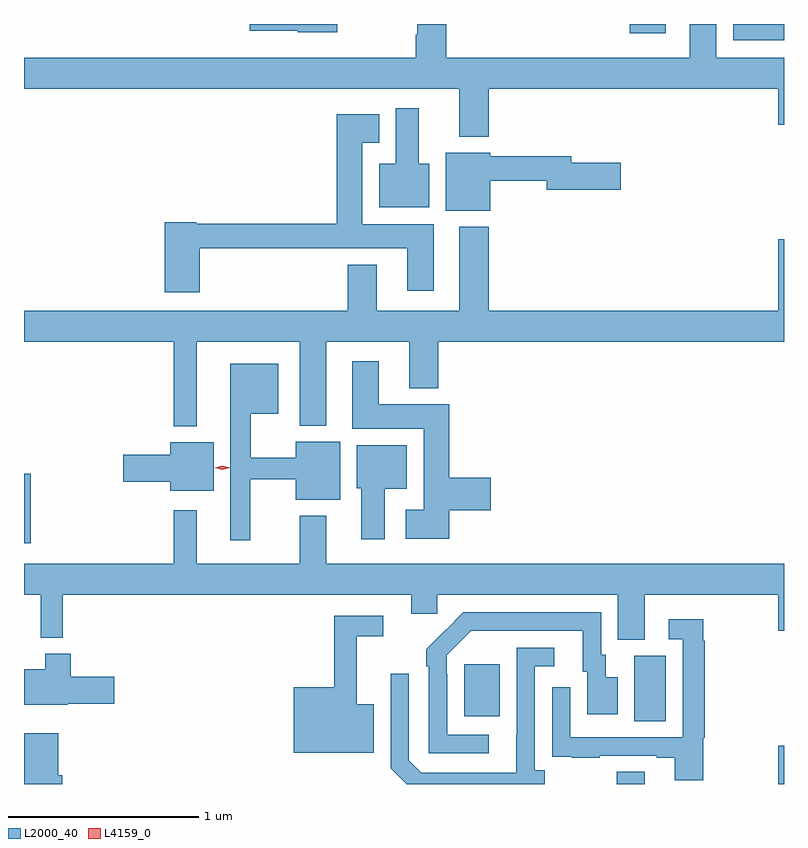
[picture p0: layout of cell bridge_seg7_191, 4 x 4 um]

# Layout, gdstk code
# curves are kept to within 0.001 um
import gdstk
lib = gdstk.Library(unit=1e-6, precision=1e-09)
def R(c, l, rs):  # rectangles x0, y0, x1, y1
    for r in rs: c.add(gdstk.rectangle(r[:2], r[2:], *l))
def P(c, l, *ps):  # polygons
    for p in ps: c.add(gdstk.Polygon(p, *l))
L2000_40 = (2000, 40)
L4159_0 = (4159, 0)

bridge_seg7_191 = lib.new_cell('bridge_seg7_191')
R(bridge_seg7_191, L2000_40, [(499.822,1015.605,499.969,1015.67), (500.672,1015.605,500.703,1015.807), (499.916,1015.936,500.08,1016.28), (499.019,1015.961,499.207,1016.236), (496.703,1016.871,496.739,1017.238), (500.436,1019.52,500.703,1019.605), (499.891,1019.556,500.08,1019.605)])
P(bridge_seg7_191, L2000_40, [(499.148,1019.264),(500.672,1019.264),(500.672,1019.076),(500.703,1019.076),(500.703,1019.428),(500.347,1019.428),(500.347,1019.605),(500.207,1019.605),(500.207,1019.428),(498.926,1019.428),(498.926,1019.605),(498.773,1019.605),(498.773,1019.549),(498.766,1019.549),(498.766,1019.428),(496.703,1019.428),(496.703,1019.264),(498.995,1019.264),(498.995,1019.012),(499.148,1019.012)],
  [(498.352,1019.605),(497.892,1019.605),(497.892,1019.57),(498.144,1019.57),(498.144,1019.561),(498.352,1019.561)],
  [(498.835,1018.87),(498.781,1018.87),(498.781,1019.161),(498.659,1019.161),(498.659,1018.87),(498.572,1018.87),(498.572,1018.64),(498.835,1018.64)],
  [(497.627,1018.425),(498.366,1018.425),(498.366,1018.424),(498.719,1018.424),(498.719,1018.2),(498.859,1018.2),(498.859,1018.552),(498.484,1018.552),(498.484,1018.979),(498.574,1018.979),(498.574,1019.131),(498.35,1019.131),(498.35,1018.553),(497.61,1018.553),(497.61,1018.561),(497.444,1018.561),(497.444,1018.194),(497.627,1018.194)],
  [(499.156,1018.78),(499.454,1018.78),(499.454,1018.733),(499.843,1018.733),(499.843,1018.875),(499.582,1018.875),(499.582,1018.909),(499.156,1018.909),(499.156,1018.927),(498.923,1018.927),(498.923,1018.622),(499.156,1018.622)],
  [(497.611,1017.932),(498.155,1017.932),(498.155,1017.491),(498.295,1017.491),(498.295,1017.932),(498.731,1017.932),(498.731,1017.689),(498.884,1017.689),(498.884,1017.932),(500.703,1017.932),(500.703,1018.471),(500.672,1018.471),(500.672,1018.096),(499.148,1018.096),(499.148,1018.537),(498.995,1018.537),(498.995,1018.096),(498.559,1018.096),(498.559,1018.339),(498.407,1018.339),(498.407,1018.096),(496.703,1018.096),(496.703,1017.932),(497.49,1017.932),(497.49,1017.488),(497.611,1017.488)],
  [(498.941,1017.047),(499.159,1017.047),(499.159,1017.218),(498.941,1017.218),(498.941,1017.604),(498.571,1017.604),(498.571,1017.829),(498.431,1017.829),(498.431,1017.476),(498.806,1017.476),(498.806,1017.049),(498.711,1017.049),(498.711,1016.897),(498.941,1016.897)],
  [(497.893,1017.21),(498.134,1017.21),(498.134,1017.101),(498.367,1017.101),(498.367,1017.406),(498.134,1017.406),(498.134,1017.321),(497.896,1017.321),(497.896,1017.554),(498.04,1017.554),(498.04,1017.817),(497.789,1017.817),(497.789,1016.889),(497.893,1016.889)],
  [(497.701,1017.403),(497.474,1017.403),(497.474,1017.338),(497.226,1017.338),(497.226,1017.196),(497.474,1017.196),(497.474,1017.149),(497.701,1017.149)],
  [(498.601,1017.158),(498.718,1017.158),(498.718,1017.388),(498.455,1017.388),(498.455,1017.162),(498.479,1017.162),(498.479,1016.892),(498.601,1016.892)],
  [(499.969,1016.6),(500.672,1016.6),(500.672,1016.412),(500.703,1016.412),(500.703,1016.764),(498.295,1016.764),(498.295,1017.016),(498.155,1017.016),(498.155,1016.764),(497.611,1016.764),(497.611,1017.046),(497.49,1017.046),(497.49,1016.764),(496.703,1016.764),(496.703,1016.6),(496.79,1016.6),(496.79,1016.375),(496.907,1016.375),(496.907,1016.6),(498.74,1016.6),(498.74,1016.502),(498.879,1016.502),(498.879,1016.6),(499.829,1016.6),(499.829,1016.365),(499.969,1016.365)],
  [(499.15,1015.863),(498.93,1015.863),(498.93,1016.183),(498.927,1016.183),(498.927,1016.283),(499.056,1016.412),(499.643,1016.412),(499.643,1016.196),(499.667,1016.196),(499.667,1015.971),(499.828,1015.971),(499.828,1016.167),(499.765,1016.167),(499.765,1016.286),(499.74,1016.286),(499.74,1016.508),(499.016,1016.508),(498.819,1016.313),(498.819,1016.225),(498.834,1016.225),(498.834,1015.767),(499.15,1015.767)],
  [(498.544,1016.026),(498.455,1016.026),(498.455,1016.382),(498.595,1016.382),(498.595,1016.49),(498.337,1016.49),(498.337,1016.113),(498.122,1016.113),(498.122,1015.769),(498.544,1015.769)],
  [(500.278,1015.848),(500.285,1015.848),(500.285,1016.36),(500.278,1016.36),(500.278,1016.473),(500.097,1016.473),(500.097,1016.367),(500.169,1016.367),(500.169,1015.851),(499.578,1015.851),(499.578,1016.113),(499.482,1016.113),(499.482,1015.858),(499.483,1015.858),(499.483,1015.749),(499.585,1015.749),(499.585,1015.743),(499.733,1015.743),(499.733,1015.755),(500.033,1015.755),(500.033,1015.743),(500.129,1015.743),(500.129,1015.626),(500.278,1015.626)],
  [(499.444,1015.678),(499.392,1015.678),(499.392,1016.226),(499.495,1016.226),(499.495,1016.322),(499.296,1016.322),(499.295,1015.665),(498.795,1015.665),(498.729,1015.731),(498.729,1016.185),(498.633,1016.185),(498.633,1015.689),(498.717,1015.605),(499.444,1015.605)],
  [(496.932,1016.027),(497.179,1016.027),(497.179,1016.169),(496.949,1016.169),(496.949,1016.29),(496.814,1016.29),(496.814,1016.209),(496.703,1016.209),(496.703,1016.021),(496.932,1016.021)],
  [(496.904,1015.651),(496.884,1015.651),(496.884,1015.873),(496.703,1015.873),(496.703,1015.605),(496.904,1015.605)])
P(bridge_seg7_191, L4159_0, [(497.747,1017.26),(497.706,1017.27),(497.706,1017.27),(497.706,1017.27),(497.747,1017.28),(497.788,1017.27),(497.788,1017.27),(497.788,1017.27)])

lib.write_gds('bridge_seg7_191.gds')
